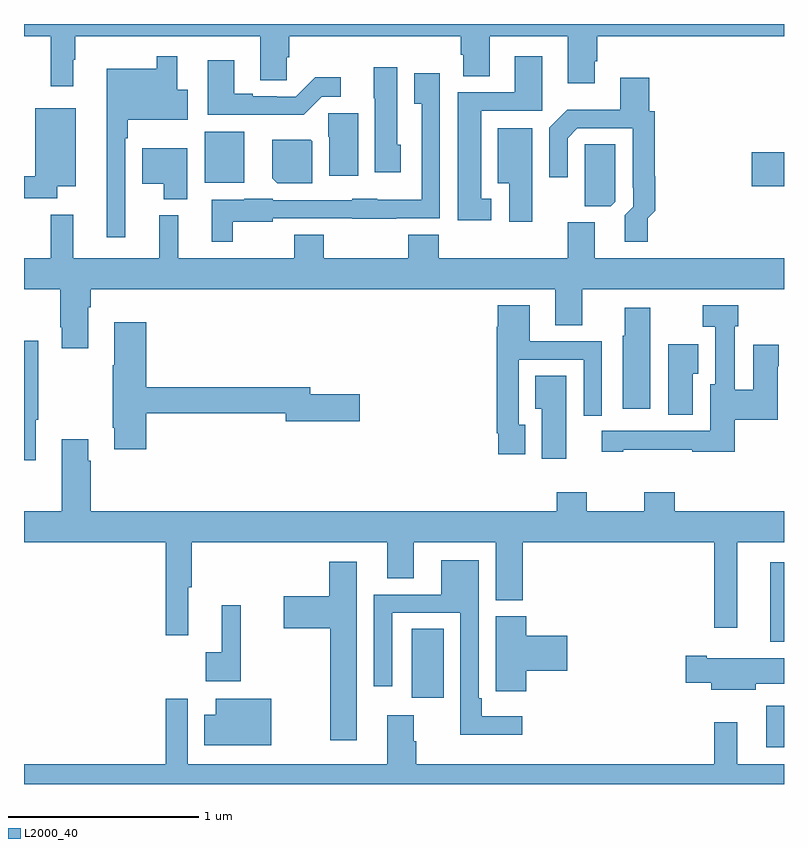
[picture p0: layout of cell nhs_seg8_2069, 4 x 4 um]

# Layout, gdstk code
import gdstk
lib = gdstk.Library(unit=1e-6, precision=1e-09)
def R(c, l, rs):  # rectangles x0, y0, x1, y1
    for r in rs: c.add(gdstk.rectangle(r[:2], r[2:], *l))
def P(c, l, *ps):  # polygons
    for p in ps: c.add(gdstk.Polygon(p, *l))
L2000_40 = (2000, 40)

nhs_seg8_2069 = lib.new_cell('nhs_seg8_2069')
R(nhs_seg8_2069, L2000_40, [(244.907,1110.093,245,1110.313), (243.041,1110.354,243.208,1110.716), (244.928,1110.65,245,1111.066), (244.83,1113.046,245,1113.224), (241.952,1113.065,242.158,1113.334)])
P(nhs_seg8_2069, L2000_40, [(241,1113.836),(241.141,1113.836),(241.141,1113.573),(241.258,1113.573),(241.258,1113.713),(241.27,1113.713),(241.27,1113.836),(242.243,1113.836),(242.243,1113.604),(242.382,1113.604),(242.382,1113.726),(242.396,1113.726),(242.396,1113.836),(243.299,1113.836),(243.299,1113.737),(243.311,1113.737),(243.311,1113.625),(243.451,1113.625),(243.451,1113.836),(243.863,1113.836),(243.863,1113.588),(244.003,1113.588),(244.003,1113.703),(244.016,1113.703),(244.016,1113.836),(245,1113.836),(245,1113.9),(241,1113.9)],
  [(241.533,1113.299),(241.546,1113.299),(241.546,1113.395),(241.861,1113.395),(241.861,1113.553),(241.807,1113.553),(241.807,1113.73),(241.698,1113.73),(241.698,1113.664),(241.436,1113.664),(241.436,1112.778),(241.533,1112.778)],
  [(243.46,1112.981),(243.406,1112.981),(243.406,1113.444),(243.727,1113.444),(243.727,1113.73),(243.584,1113.73),(243.584,1113.54),(243.284,1113.54),(243.284,1112.868),(243.46,1112.868)],
  [(242.568,1113.516),(242.668,1113.516),(242.668,1113.619),(242.533,1113.619),(242.43,1113.516),(242.33,1113.516),(242.33,1113.519),(242.203,1113.519),(242.203,1113.532),(242.107,1113.532),(242.107,1113.709),(241.967,1113.709),(241.967,1113.422),(242.473,1113.422)],
  [(242.983,1113.264),(242.965,1113.264),(242.965,1113.673),(242.84,1113.673),(242.84,1113.51),(242.846,1113.51),(242.846,1113.12),(242.983,1113.12)],
  [(242.098,1112.858),(242.31,1112.858),(242.31,1112.877),(242.727,1112.877),(242.727,1112.876),(242.959,1112.876),(242.959,1112.877),(243.189,1112.877),(243.189,1113.64),(243.053,1113.64),(243.053,1113.479),(243.093,1113.479),(243.093,1112.974),(242.859,1112.974),(242.859,1112.98),(242.727,1112.98),(242.727,1112.973),(242.31,1112.973),(242.31,1112.98),(242.16,1112.98),(242.16,1112.974),(241.988,1112.974),(241.988,1112.753),(242.098,1112.753)],
  [(244.283,1112.877),(244.322,1112.916),(244.322,1113.098),(244.319,1113.098),(244.319,1113.441),(244.292,1113.441),(244.292,1113.616),(244.139,1113.616),(244.139,1113.448),(243.859,1113.448),(243.765,1113.354),(243.765,1113.093),(243.861,1113.093),(243.861,1113.3),(243.912,1113.351),(244.203,1113.351),(244.203,1113.037),(244.206,1113.037),(244.206,1112.937),(244.163,1112.894),(244.163,1112.754),(244.283,1112.754)],
  [(241.174,1113.047),(241.273,1113.047),(241.273,1113.457),(241.058,1113.457),(241.058,1113.098),(241,1113.098),(241,1112.982),(241.174,1112.982)],
  [(242.758,1113.429),(242.602,1113.429),(242.602,1113.306),(242.606,1113.306),(242.606,1113.102),(242.758,1113.102)],
  [(243.676,1113.352),(243.494,1113.352),(243.494,1113.062),(243.554,1113.062),(243.554,1112.859),(243.676,1112.859)],
  [(242.518,1113.284),(242.51,1113.292),(242.306,1113.292),(242.306,1113.088),(242.332,1113.062),(242.518,1113.062)],
  [(244.113,1112.964),(244.113,1113.266),(243.951,1113.266),(243.951,1113.155),(243.95,1113.155),(243.95,1112.941),(244.089,1112.941)],
  [(241.858,1113.247),(241.622,1113.247),(241.622,1113.059),(241.736,1113.059),(241.736,1112.978),(241.858,1112.978)],
  [(243.797,1112.314),(243.937,1112.314),(243.937,1112.504),(245,1112.504),(245,1112.668),(244.003,1112.668),(244.003,1112.856),(243.863,1112.856),(243.863,1112.668),(243.182,1112.668),(243.182,1112.792),(243.022,1112.792),(243.022,1112.668),(242.577,1112.668),(242.577,1112.792),(242.422,1112.792),(242.422,1112.668),(241.811,1112.668),(241.811,1112.893),(241.712,1112.893),(241.712,1112.668),(241.259,1112.668),(241.259,1112.897),(241.141,1112.897),(241.141,1112.668),(241,1112.668),(241,1112.504),(241.192,1112.504),(241.192,1112.305),(241.199,1112.305),(241.199,1112.193),(241.339,1112.193),(241.339,1112.408),(241.352,1112.408),(241.352,1112.504),(243.797,1112.504)],
  [(243.637,1111.791),(243.603,1111.791),(243.603,1112.133),(243.945,1112.133),(243.945,1111.839),(244.041,1111.839),(244.041,1112.229),(243.661,1112.229),(243.661,1112.419),(243.494,1112.419),(243.494,1112.306),(243.487,1112.306),(243.487,1111.747),(243.495,1111.747),(243.495,1111.635),(243.637,1111.635)],
  [(244.153,1111.66),(244.517,1111.66),(244.517,1111.65),(244.741,1111.65),(244.741,1111.816),(244.968,1111.816),(244.968,1112.099),(244.973,1112.099),(244.973,1112.212),(244.838,1112.212),(244.838,1111.976),(244.741,1111.976),(244.741,1112.309),(244.759,1112.309),(244.759,1112.419),(244.572,1112.419),(244.572,1112.306),(244.637,1112.306),(244.637,1112.004),(244.613,1112.004),(244.613,1111.758),(244.041,1111.758),(244.041,1111.65),(244.153,1111.65)],
  [(244.297,1112.407),(244.163,1112.407),(244.163,1112.259),(244.151,1112.259),(244.151,1111.875),(244.297,1111.875)],
  [(241.643,1111.852),(242.378,1111.852),(242.378,1111.81),(242.767,1111.81),(242.767,1111.952),(242.506,1111.952),(242.506,1111.988),(241.643,1111.988),(241.643,1112.329),(241.475,1112.329),(241.475,1112.105),(241.468,1112.105),(241.468,1111.774),(241.475,1111.774),(241.475,1111.662),(241.643,1111.662)],
  [(241.063,1111.817),(241.075,1111.817),(241.075,1112.233),(241,1112.233),(241,1111.605),(241.063,1111.605)],
  [(244.519,1112.059),(244.549,1112.059),(244.549,1112.215),(244.391,1112.215),(244.391,1111.843),(244.519,1111.843)],
  [(243.853,1112.048),(243.692,1112.048),(243.692,1111.874),(243.725,1111.874),(243.725,1111.611),(243.853,1111.611)],
  [(241.865,1110.936),(241.883,1110.936),(241.883,1111.172),(242.912,1111.172),(242.912,1110.982),(243.052,1110.982),(243.052,1111.172),(243.482,1111.172),(243.482,1110.868),(243.626,1110.868),(243.626,1111.172),(244.632,1111.172),(244.632,1110.723),(244.753,1110.723),(244.753,1111.172),(245,1111.172),(245,1111.336),(244.424,1111.336),(244.424,1111.435),(244.264,1111.435),(244.264,1111.336),(243.963,1111.336),(243.963,1111.435),(243.803,1111.435),(243.803,1111.336),(241.352,1111.336),(241.352,1111.601),(241.339,1111.601),(241.339,1111.714),(241.199,1111.714),(241.199,1111.336),(241,1111.336),(241,1111.172),(241.747,1111.172),(241.747,1110.684),(241.865,1110.684)],
  [(243.622,1110.256),(243.409,1110.256),(243.409,1110.352),(243.393,1110.352),(243.393,1111.078),(243.197,1111.078),(243.197,1110.897),(242.841,1110.897),(242.841,1110.414),(242.937,1110.414),(242.937,1110.801),(243.297,1110.801),(243.297,1110.158),(243.622,1110.158)],
  [(242.752,1111.069),(242.606,1111.069),(242.606,1110.889),(242.367,1110.889),(242.367,1110.719),(242.611,1110.719),(242.611,1110.129),(242.752,1110.129)],
  [(242.142,1110.841),(242.042,1110.841),(242.042,1110.593),(241.956,1110.593),(241.956,1110.44),(242.142,1110.44)],
  [(243.644,1110.497),(243.859,1110.497),(243.859,1110.68),(243.644,1110.68),(243.644,1110.783),(243.482,1110.783),(243.482,1110.499),(243.483,1110.499),(243.483,1110.387),(243.644,1110.387)],
  [(244.852,1110.427),(245,1110.427),(245,1110.562),(244.594,1110.562),(244.594,1110.575),(244.482,1110.575),(244.482,1110.433),(244.616,1110.433),(244.616,1110.395),(244.852,1110.395)],
  [(242.302,1110.349),(242.009,1110.349),(242.009,1110.265),(241.948,1110.265),(241.948,1110.104),(242.302,1110.104)],
  [(245,1110.004),(244.753,1110.004),(244.753,1110.226),(244.632,1110.226),(244.632,1110.004),(243.065,1110.004),(243.065,1110.125),(243.052,1110.125),(243.052,1110.262),(242.912,1110.262),(242.912,1110.004),(241.863,1110.004),(241.863,1110.349),(241.747,1110.349),(241.747,1110.004),(241,1110.004),(241,1109.9),(245,1109.9)])

lib.write_gds('nhs_seg8_2069.gds')
